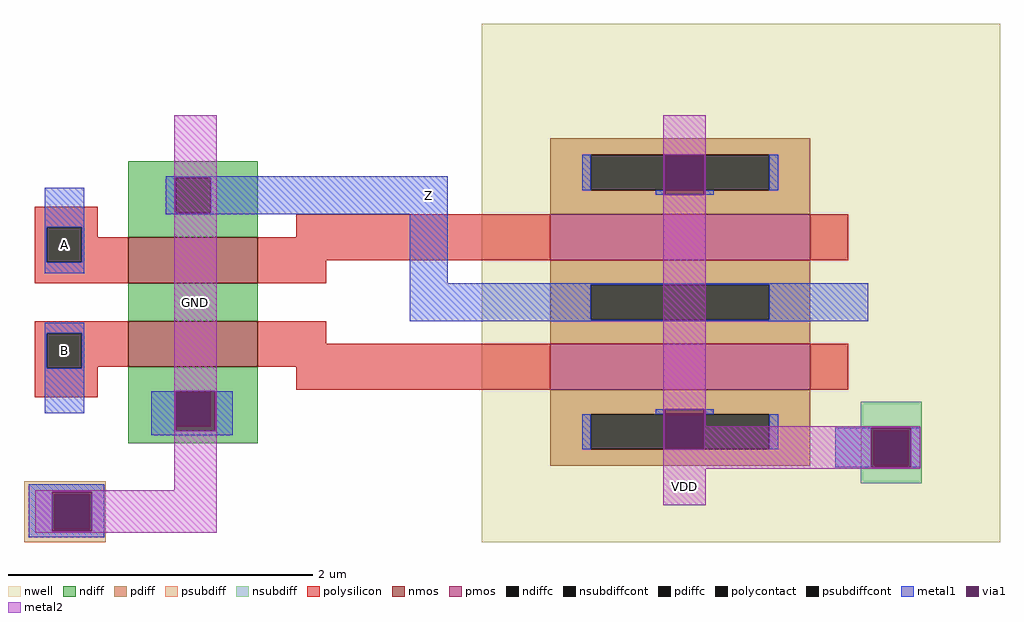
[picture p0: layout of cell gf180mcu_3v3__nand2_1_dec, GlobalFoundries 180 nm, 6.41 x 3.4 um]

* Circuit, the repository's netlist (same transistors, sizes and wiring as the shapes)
.subckt gf180mcu_3v3__nand2_1_dec A B Z VDD GND
X0 VDD B Z VDD pfet_03v3 w=1.7u l=0.3u
X1 Z A VDD VDD pfet_03v3 w=1.7u l=0.3u
X2 a_28_21# A Z GND nfet_03v3 w=0.85u l=0.3u
X3 GND B a_28_21# GND nfet_03v3 w=0.85u l=0.3u
.ends

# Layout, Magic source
magic
tech gf180mcuD
magscale 1 10
<< nwell >>
rect 675 -30 1355 650
<< nmos >>
rect 211 310 381 370
rect 211 200 381 260
<< pmos >>
rect 765 340 1106 400
rect 765 170 1106 230
<< ndiff >>
rect 211 448 381 470
rect 211 402 273 448
rect 319 402 381 448
rect 211 370 381 402
rect 211 260 381 310
rect 211 168 381 200
rect 211 122 273 168
rect 319 122 381 168
rect 211 100 381 122
<< pdiff >>
rect 765 478 1106 500
rect 765 432 818 478
rect 1052 432 1106 478
rect 765 400 1106 432
rect 765 308 1106 340
rect 765 262 818 308
rect 1052 262 1106 308
rect 765 230 1106 262
rect 765 138 1106 170
rect 765 92 818 138
rect 1052 92 1106 138
rect 765 70 1106 92
<< ndiffc >>
rect 273 402 319 448
rect 273 122 319 168
<< pdiffc >>
rect 818 432 1052 478
rect 818 262 1052 308
rect 818 92 1052 138
<< psubdiff >>
rect 74 33 181 50
rect 74 -13 114 33
rect 160 -13 181 33
rect 74 -30 181 -13
<< nsubdiff >>
rect 1172 117 1252 154
rect 1172 71 1189 117
rect 1235 71 1252 117
rect 1172 47 1252 71
<< psubdiffcont >>
rect 114 -13 160 33
<< nsubdiffcont >>
rect 1189 71 1235 117
<< polysilicon >>
rect 88 383 171 410
rect 88 337 104 383
rect 150 370 171 383
rect 431 370 765 400
rect 150 337 211 370
rect 88 310 211 337
rect 381 340 765 370
rect 1106 340 1156 400
rect 381 310 471 340
rect 88 244 211 260
rect 88 198 104 244
rect 150 200 211 244
rect 381 230 471 260
rect 381 200 765 230
rect 150 198 171 200
rect 88 160 171 198
rect 431 170 765 200
rect 1106 170 1156 230
<< polycontact >>
rect 104 337 150 383
rect 104 198 150 244
<< metal1 >>
rect 260 448 630 450
rect 101 383 153 435
rect 260 402 273 448
rect 319 402 630 448
rect 807 432 818 478
rect 1052 432 1064 478
rect 903 426 915 432
rect 967 426 979 432
rect 260 400 630 402
rect 101 337 104 383
rect 150 337 153 383
rect 101 323 153 337
rect 580 310 630 400
rect 580 308 1182 310
rect 580 262 818 308
rect 1052 262 1182 308
rect 580 260 1182 262
rect 101 244 153 258
rect 101 198 104 244
rect 150 198 153 244
rect 101 139 153 198
rect 241 116 273 168
rect 325 116 348 168
rect 903 138 915 144
rect 967 138 979 144
rect 241 110 348 116
rect 807 92 818 138
rect 1052 92 1064 138
rect 1139 68 1186 120
rect 1238 68 1250 120
rect 80 36 179 46
rect 80 -16 111 36
rect 163 -16 179 36
rect 80 -24 179 -16
<< via1 >>
rect 915 432 967 478
rect 915 426 967 432
rect 273 122 319 168
rect 319 122 325 168
rect 273 116 325 122
rect 915 138 967 144
rect 915 92 967 138
rect 1186 117 1238 120
rect 1186 71 1189 117
rect 1189 71 1235 117
rect 1235 71 1238 117
rect 1186 68 1238 71
rect 111 33 163 36
rect 111 -13 114 33
rect 114 -13 160 33
rect 160 -13 163 33
rect 111 -16 163 -13
<< metal2 >>
rect 271 168 327 530
rect 271 116 273 168
rect 325 116 327 168
rect 271 38 327 116
rect 89 36 327 38
rect 89 -16 111 36
rect 163 -16 327 36
rect 913 478 969 530
rect 913 426 915 478
rect 967 426 969 478
rect 913 144 969 426
rect 913 92 915 144
rect 967 122 969 144
rect 967 120 1250 122
rect 967 92 1186 120
rect 913 68 1186 92
rect 1238 68 1250 120
rect 913 66 1250 68
rect 913 18 969 66
rect 89 -18 327 -16
<< labels >>
rlabel metal2 s 271 38 327 530 4 GND
port 1 nsew
rlabel metal2 s 941 43 941 43 4 VDD
flabel metal1 s 605 425 605 425 2 FreeSans 368 0 0 0 Z
port 2 nsew
flabel metal1 s 127 360 127 360 2 FreeSans 368 0 0 0 A
port 3 nsew
flabel metal1 s 127 221 127 221 2 FreeSans 368 0 0 0 B
port 4 nsew
<< properties >>
string FIXED_BBOX -17 0 1373 542
<< end >>
